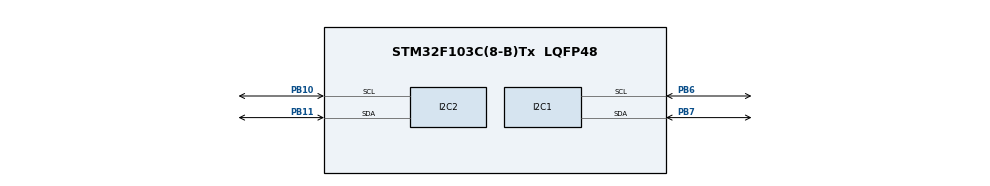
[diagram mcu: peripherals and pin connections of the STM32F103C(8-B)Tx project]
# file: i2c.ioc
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I2C1.DutyCycle=I2C_DUTYCYCLE_2
I2C1.I2C_Mode=I2C_Fast
I2C2.I2C_Mode=I2C_Fast
I2C2.OwnAddress=0x31
Mcu.Family=STM32F1
Mcu.Name=STM32F103C(8-B)Tx
Mcu.Package=LQFP48
NVIC.I2C1_ER_IRQn=true\:0\:0\:false\:false\:true\:true\:true\:true
NVIC.I2C1_EV_IRQn=true\:0\:0\:false\:false\:true\:true\:true\:true
NVIC.I2C2_ER_IRQn=true\:0\:0\:false\:false\:true\:true\:true\:true
NVIC.I2C2_EV_IRQn=true\:0\:0\:false\:false\:true\:true\:true\:true
NVIC.PriorityGroup=NVIC_PRIORITYGROUP_4
PA13.Mode=Serial_Wire
PA13.Signal=SYS_JTMS-SWDIO
PA14.Mode=Serial_Wire
PA14.Signal=SYS_JTCK-SWCLK
PB10.Mode=I2C
PB10.Signal=I2C2_SCL
PB11.Mode=I2C
PB11.Signal=I2C2_SDA
PB6.Mode=I2C
PB6.Signal=I2C1_SCL
PB7.Mode=I2C
PB7.Signal=I2C1_SDA
PD0-OSC_IN.Mode=HSE-External-Oscillator
PD0-OSC_IN.Signal=RCC_OSC_IN
PD1-OSC_OUT.Mode=HSE-External-Oscillator
PD1-OSC_OUT.Signal=RCC_OSC_OUT
ProjectManager.HeapSize=0x200
ProjectManager.StackSize=0x400
ProjectManager.TargetToolchain=STM32CubeIDE
RCC.APB1Freq_Value=8000000
RCC.APB2Freq_Value=8000000
board=custom

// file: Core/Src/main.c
/* USER CODE BEGIN Header */
/**
  ******************************************************************************
  * @file           : main.c
  * @brief          : Main program body
  ******************************************************************************
  * @attention
  *
  * Copyright (c) 2024 STMicroelectronics.
  * All rights reserved.
  *
  * This software is licensed under terms that can be found in the LICENSE file
  * in the root directory of this software component.
  * If no LICENSE file comes with this software, it is provided AS-IS.
  *
  ******************************************************************************
  */
/* USER CODE END Header */
#include "main.h"

/* USER CODE BEGIN PD */
#define I2C_EXAMPLE_MASTER

#define I2C_EXAMPLE_SLAVE
/* USER CODE END PD */

I2C_HandleTypeDef hi2c1;
I2C_HandleTypeDef hi2c2;

/* USER CODE BEGIN PV */
uint8_t I2CSendVal;
uint8_t I2CRecVal;
/* USER CODE END PV */

void SystemClock_Config(void);
static void MX_GPIO_Init(void);
static void MX_I2C1_Init(void);
static void MX_I2C2_Init(void);

/* USER CODE BEGIN 0 */
void HAL_I2C_ListenCpltCallback(I2C_HandleTypeDef *hi2c) {
	HAL_I2C_EnableListen_IT(hi2c);
}

void HAL_I2C_AddrCallback(I2C_HandleTypeDef *hi2c, uint8_t TransferDirection, uint16_t AddrMatchCode) {
	if (TransferDirection == I2C_DIRECTION_TRANSMIT) {
		HAL_I2C_Slave_Seq_Receive_IT(hi2c, &I2CRecVal, 1, I2C_FIRST_AND_LAST_FRAME);
	}
	else if (TransferDirection == I2C_DIRECTION_RECEIVE) {
		Error_Handler();
	}
}
/* USER CODE END 0 */

int main(void)
{

  /* MCU Configuration--------------------------------------------------------*/

  /* Reset of all peripherals, Initializes the Flash interface and the Systick. */
  HAL_Init();

  /* Configure the system clock */
  SystemClock_Config();

  /* Initialize all configured peripherals */
  MX_GPIO_Init();
  MX_I2C1_Init();
  MX_I2C2_Init();
  /* USER CODE BEGIN 2 */
#ifdef I2C_EXAMPLE_SLAVE
  HAL_I2C_EnableListen_IT(&hi2c2);
#endif
  /* USER CODE END 2 */

  /* Infinite loop */
  /* USER CODE BEGIN WHILE */
  I2CSendVal = 0;
  while (1)
  {
#ifdef I2C_EXAMPLE_MASTER
	  // Nao esquecer de shiftar o endereço 1 bit para a esquerdar (x << 1)
	  if (HAL_I2C_Master_Transmit(&hi2c1, (0x31 << 1), &I2CSendVal, sizeof(I2CSendVal), HAL_MAX_DELAY) == HAL_OK) {
		  printf("Master: Enviado %d\n", I2CSendVal); // Opcional para debug
		  I2CSendVal++;
	  } else {
		  Error_Handler();
	  }
	  HAL_Delay(500);
#else

#endif
    /* USER CODE END WHILE */

  }
}

void SystemClock_Config(void)
{
  RCC_OscInitTypeDef RCC_OscInitStruct = {0};
  RCC_ClkInitTypeDef RCC_ClkInitStruct = {0};

  /** Initializes the RCC Oscillators according to the specified parameters
  * in the RCC_OscInitTypeDef structure.
  */
  RCC_OscInitStruct.OscillatorType = RCC_OSCILLATORTYPE_HSI;
  RCC_OscInitStruct.HSIState = RCC_HSI_ON;
  RCC_OscInitStruct.HSICalibrationValue = RCC_HSICALIBRATION_DEFAULT;
  RCC_OscInitStruct.PLL.PLLState = RCC_PLL_NONE;
  if (HAL_RCC_OscConfig(&RCC_OscInitStruct) != HAL_OK)
  {
    Error_Handler();
  }

  /** Initializes the CPU, AHB and APB buses clocks
  */
  RCC_ClkInitStruct.ClockType = RCC_CLOCKTYPE_HCLK|RCC_CLOCKTYPE_SYSCLK
                              |RCC_CLOCKTYPE_PCLK1|RCC_CLOCKTYPE_PCLK2;
  RCC_ClkInitStruct.SYSCLKSource = RCC_SYSCLKSOURCE_HSI;
  RCC_ClkInitStruct.AHBCLKDivider = RCC_SYSCLK_DIV1;
  RCC_ClkInitStruct.APB1CLKDivider = RCC_HCLK_DIV1;
  RCC_ClkInitStruct.APB2CLKDivider = RCC_HCLK_DIV1;

  if (HAL_RCC_ClockConfig(&RCC_ClkInitStruct, FLASH_LATENCY_0) != HAL_OK)
  {
    Error_Handler();
  }
}

static void MX_I2C1_Init(void)
{

  hi2c1.Instance = I2C1;
  hi2c1.Init.ClockSpeed = 400000;
  hi2c1.Init.DutyCycle = I2C_DUTYCYCLE_2;
  hi2c1.Init.OwnAddress1 = 0;
  hi2c1.Init.AddressingMode = I2C_ADDRESSINGMODE_7BIT;
  hi2c1.Init.DualAddressMode = I2C_DUALADDRESS_DISABLE;
  hi2c1.Init.OwnAddress2 = 0;
  hi2c1.Init.GeneralCallMode = I2C_GENERALCALL_DISABLE;
  hi2c1.Init.NoStretchMode = I2C_NOSTRETCH_DISABLE;
  if (HAL_I2C_Init(&hi2c1) != HAL_OK)
  {
    Error_Handler();
  }

}

static void MX_I2C2_Init(void)
{

  hi2c2.Instance = I2C2;
  hi2c2.Init.ClockSpeed = 400000;
  hi2c2.Init.DutyCycle = I2C_DUTYCYCLE_2;
  hi2c2.Init.OwnAddress1 = 98;
  hi2c2.Init.AddressingMode = I2C_ADDRESSINGMODE_7BIT;
  hi2c2.Init.DualAddressMode = I2C_DUALADDRESS_DISABLE;
  hi2c2.Init.OwnAddress2 = 0;
  hi2c2.Init.GeneralCallMode = I2C_GENERALCALL_DISABLE;
  hi2c2.Init.NoStretchMode = I2C_NOSTRETCH_DISABLE;
  if (HAL_I2C_Init(&hi2c2) != HAL_OK)
  {
    Error_Handler();
  }

}

static void MX_GPIO_Init(void)
{

  /* GPIO Ports Clock Enable */
  __HAL_RCC_GPIOD_CLK_ENABLE();
  __HAL_RCC_GPIOB_CLK_ENABLE();
  __HAL_RCC_GPIOA_CLK_ENABLE();

}

void Error_Handler(void)
{
  __disable_irq();
  while (1)
  {
  }
}
